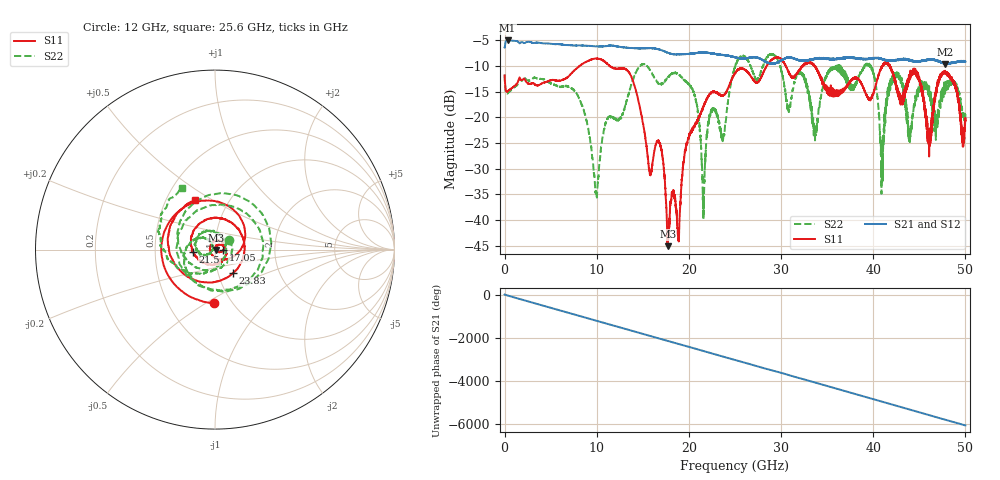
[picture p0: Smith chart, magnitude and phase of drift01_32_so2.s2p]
!Created with skrf (http://scikit-rf.org).
# Hz S RI R 50.0
!freq ReS11 ImS11 ReS21 ImS21 ReS12 ImS12 ReS22 ImS22
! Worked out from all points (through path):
!   10001 points, 300 kHz to 50 GHz, reference 50 ohm
!   highest |S21| = -5.05 dB at 325.3 MHz (marker M1); lowest = -9.6 dB at 47.84 GHz (marker M2)
!   group delay of S21, straight-line fit = 336 ps
!   lowest |S11| = -45.1 dB at 17.7 GHz (marker M3), VSWR 1.01, Z = 50.5 - j0.146 ohm
!   |S11| at or under -10 dB: start of sweep to 8.153 GHz; 11.4 GHz to 28.44 GHz (17.04 GHz wide, 85.5 % of centre); 41.79 GHz to end of sweep (the widest 3 of 8)
!   |S22| runs from -39.9 to -7.6 dB; largest |S21 - S12| = 0.014
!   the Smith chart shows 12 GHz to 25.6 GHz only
!   S11 on the Smith chart (normalised r, x): 12 GHz: 0.83, -0.54; 17.05 GHz: 1.10, -0.01; 21.5 GHz: 0.78, -0.02; 23.83 GHz: 1.18, -0.32; 25.6 GHz: 0.69, +0.42
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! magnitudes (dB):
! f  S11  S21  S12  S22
! 300 kHz  -11.9  -6.4  -6.5  -11.7
! 325.3 MHz  -14.9  -5.1  -5.1  -15.4
! 8.335 GHz  -9.8  -6.0  -6.0  -17.5
! 9.935 GHz  -8.6  -6.2  -6.2  -34.5
! 12 GHz  -10.5  -6.1  -6.1  -20.4
! 15.78 GHz  -31.1  -6.5  -6.5  -10.8
! 16.67 GHz  -24.5  -6.8  -6.8  -13.4
! 17.05 GHz  -26.5  -7.0  -7.0  -13.5
! 17.7 GHz  -45.1  -7.4  -7.4  -12.3
! 20.5 GHz  -22.1  -7.6  -7.6  -15.0
! 21.5 GHz  -18.1  -7.4  -7.3  -34.3
! 22.46 GHz  -15.2  -7.6  -7.6  -18.9
! 23.83 GHz  -15.6  -7.9  -7.9  -23.5
! 25 GHz  -11.4  -8.3  -8.4  -10.3
! 25.6 GHz  -10.5  -8.5  -8.5  -8.2
! 33.34 GHz  -9.5  -8.7  -8.7  -19.3
! 39.51 GHz  -16.5  -8.6  -8.6  -9.9
! 40.95 GHz  -10.1  -8.7  -8.6  -28.9
! 41.67 GHz  -9.7  -8.9  -9.0  -14.9
! 46.08 GHz  -24.2  -8.8  -8.8  -15.1
! 47.84 GHz  -11.3  -9.6  -9.6  -14.6
! 50 GHz  -20.7  -9.2  -9.2  -20.6
